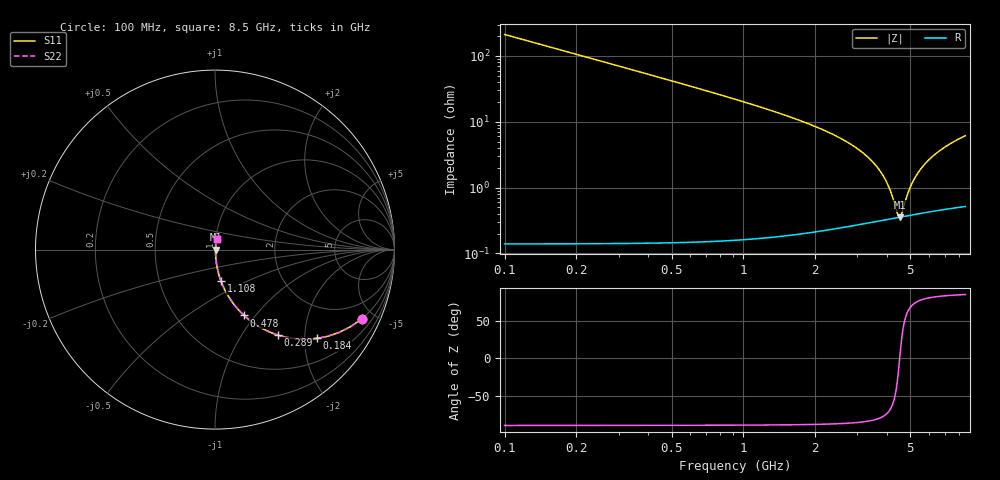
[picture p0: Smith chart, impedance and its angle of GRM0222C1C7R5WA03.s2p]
!Murata Part Number: GRM0222C1C7R5WA03
!These Parameters are Measured in Series Mode Connection
!Data Generated on Mar 30, 2021
!  o--ll--o
!Port1  Port2
!  o------o
!Operation Temp=25[degC], DC Bias Voltage=0[V]
!Freq. Start=100[MHz] Stop=9[GHz] 401[Steps]
# Hz S RI R 50
!Freq.(Hz) S11(Real) S11(Imag) S21(Real) S21(Imag) S12(Real) S12(Imag) S22(Real) S22(Imag)
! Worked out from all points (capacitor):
!   401 points, 100 MHz to 8.5 GHz, reference 50 ohm
!   read as one part in series: C = 7.5 pF near 142 MHz
!   lowest |Z| = 355 mohm at 4.51 GHz (marker M1)
!   series resonance near 4.511 GHz, so ESL is about 170 pH
!   S11 on the Smith chart (normalised r, x): 100 MHz: 1.00, -4.24; 184 MHz: 1.00, -2.30; 289 MHz: 1.00, -1.46; 478 MHz: 1.00, -0.88; 1.108 GHz: 1.00, -0.36; 8.5 GHz: 1.01, +0.12
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1e8  0.818 -0.3855  0.182 0.3855  0.182 0.3855  0.818 -0.3855
1.84e8  0.5699 -0.4945  0.4301 0.4945  0.4301 0.4945  0.5699 -0.4945
2.89e8  0.3486 -0.4756  0.6514 0.4756  0.6514 0.4756  0.3486 -0.4756
4.78e8  0.1622 -0.367  0.8378 0.367  0.8378 0.367  0.1622 -0.367
7.09e8  0.0795 -0.268  0.9205 0.268  0.9205 0.268  0.0795 -0.268
1.108e9  0.0327 -0.1733  0.9673 0.1733  0.9673 0.1733  0.0327 -0.1733
1.507e9  0.017 -0.1222  0.983 0.1222  0.983 0.1222  0.017 -0.1222
2.914e9  0.00439 -0.0416  0.9956 0.0416  0.9956 0.0416  0.00439 -0.0416
3.397e9  0.00363 -0.0265  0.9964 0.0265  0.9964 0.0265  0.00363 -0.0265
3.775e9  0.00341 -0.0165  0.9966 0.0165  0.9966 0.0165  0.00341 -0.0165
4.069e9  0.00339 -0.00947  0.9966 0.00947  0.9966 0.00947  0.00339 -0.00947
4.3e9  0.00345 -0.00439  0.9966 0.00439  0.9966 0.00439  0.00345 -0.00439
4.426e9  0.0035 -0.00174  0.9965 0.00174  0.9965 0.00174  0.0035 -0.00174
4.51e9  0.00354 -1.52e-05  0.9965 1.52e-05  0.9965 1.52e-05  0.00354 -1.52e-05
4.594e9  0.00358 0.00167  0.9964 -0.00167  0.9964 -0.00167  0.00358 0.00167
4.846e9  0.00375 0.00655  0.9962 -0.00655  0.9962 -0.00655  0.00375 0.00655
5.077e9  0.00394 0.0108  0.9961 -0.0108  0.9961 -0.0108  0.00394 0.0108
5.35e9  0.0042 0.0156  0.9958 -0.0156  0.9958 -0.0156  0.0042 0.0156
5.707e9  0.00459 0.0216  0.9954 -0.0216  0.9954 -0.0216  0.00459 0.0216
6.316e9  0.00535 0.031  0.9946 -0.031  0.9946 -0.031  0.00535 0.031
7.114e9  0.00651 0.0425  0.9935 -0.0425  0.9935 -0.0425  0.00651 0.0425
8.5e9  0.00883 0.0605  0.9912 -0.0605  0.9912 -0.0605  0.00883 0.0605
